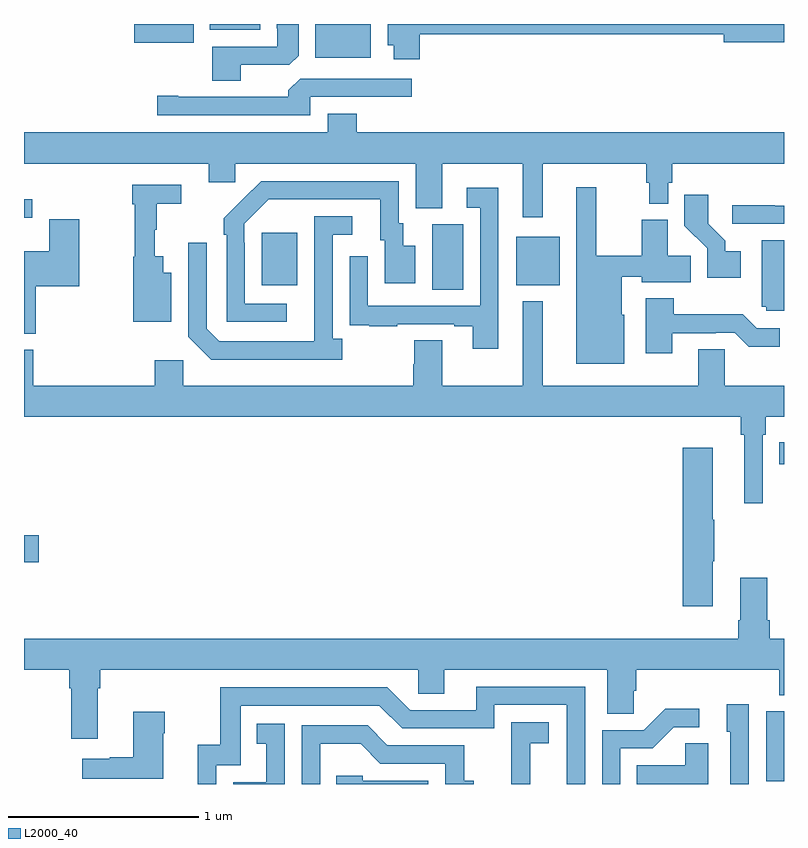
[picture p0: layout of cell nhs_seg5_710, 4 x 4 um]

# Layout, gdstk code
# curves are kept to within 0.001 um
import gdstk
lib = gdstk.Library(unit=1e-6, precision=1e-09)
def R(c, l, rs):  # rectangles x0, y0, x1, y1
    for r in rs: c.add(gdstk.rectangle(r[:2], r[2:], *l))
def P(c, l, *ps):  # polygons
    for p in ps: c.add(gdstk.Polygon(p, *l))
L2000_40 = (2000, 40)

nhs_seg5_710 = lib.new_cell('nhs_seg5_710')
R(nhs_seg5_710, L2000_40, [(158.907,882.813,159,883.182), (155,883.966,155.077,884.108), (158.974,884.482,159,884.598), (157.148,885.4,157.312,885.744), (156.251,885.425,156.439,885.7), (157.592,885.425,157.819,885.679), (155,885.78,155.044,885.876), (156.533,886.622,156.826,886.799), (155.579,886.7,155.893,886.799), (155.978,886.769,156.244,886.799)])
P(nhs_seg5_710, L2000_40, [(156.142,886.584),(156.396,886.584),(156.445,886.633),(156.445,886.799),(156.329,886.799),(156.329,886.777),(156.333,886.777),(156.333,886.68),(155.99,886.68),(155.99,886.501),(156.142,886.501)],
  [(157.082,886.744),(158.684,886.744),(158.684,886.702),(159,886.702),(159,886.799),(156.914,886.799),(156.914,886.688),(156.947,886.688),(156.947,886.614),(157.082,886.614)],
  [(156.507,886.416),(157.042,886.416),(157.042,886.512),(156.453,886.512),(156.392,886.45),(156.392,886.416),(155.812,886.416),(155.812,886.421),(155.7,886.421),(155.7,886.32),(156.507,886.32)],
  [(157.729,886.064),(158.275,886.064),(158.275,885.963),(158.29,885.963),(158.29,885.854),(158.391,885.854),(158.391,885.963),(158.411,885.963),(158.411,886.064),(159,886.064),(159,886.228),(156.752,886.228),(156.752,886.327),(156.599,886.327),(156.599,886.228),(155,886.228),(155,886.064),(155.972,886.064),(155.972,885.966),(156.111,885.966),(156.111,886.064),(157.061,886.064),(157.061,885.829),(157.201,885.829),(157.201,886.064),(157.625,886.064),(157.625,885.783),(157.729,885.783)],
  [(156.382,885.327),(156.162,885.327),(156.162,885.647),(156.159,885.647),(156.159,885.747),(156.288,885.876),(156.875,885.876),(156.875,885.66),(156.899,885.66),(156.899,885.435),(157.06,885.435),(157.06,885.631),(156.997,885.631),(156.997,885.75),(156.972,885.75),(156.972,885.972),(156.248,885.972),(156.051,885.777),(156.051,885.689),(156.066,885.689),(156.066,885.231),(156.382,885.231)],
  [(155.776,885.49),(155.734,885.49),(155.734,885.577),(155.687,885.577),(155.687,885.717),(155.698,885.717),(155.698,885.853),(155.827,885.853),(155.827,885.954),(155.569,885.954),(155.569,885.851),(155.584,885.851),(155.584,885.573),(155.576,885.573),(155.576,885.233),(155.776,885.233)],
  [(158.158,885.27),(158.146,885.27),(158.146,885.47),(158.252,885.47),(158.252,885.44),(158.51,885.44),(158.51,885.578),(158.389,885.578),(158.389,885.769),(158.252,885.769),(158.252,885.58),(158.011,885.58),(158.011,885.94),(157.907,885.94),(157.907,885.011),(158.158,885.011)],
  [(157.497,885.937),(157.329,885.937),(157.329,885.831),(157.401,885.831),(157.401,885.315),(156.81,885.315),(156.81,885.577),(156.714,885.577),(156.714,885.322),(156.715,885.322),(156.715,885.213),(156.817,885.213),(156.817,885.207),(156.965,885.207),(156.965,885.219),(157.265,885.219),(157.265,885.207),(157.361,885.207),(157.361,885.09),(157.497,885.09)],
  [(158.773,885.604),(158.692,885.604),(158.692,885.659),(158.602,885.749),(158.602,885.901),(158.476,885.901),(158.476,885.738),(158.595,885.619),(158.595,885.464),(158.773,885.464)],
  [(159,885.843),(158.951,885.843),(158.951,885.846),(158.727,885.846),(158.727,885.747),(159,885.747)],
  [(156.676,885.142),(156.624,885.142),(156.624,885.69),(156.727,885.69),(156.727,885.786),(156.528,885.786),(156.527,885.129),(156.027,885.129),(155.961,885.195),(155.961,885.649),(155.865,885.649),(155.865,885.153),(155.986,885.032),(156.676,885.032)],
  [(155.063,885.419),(155.29,885.419),(155.29,885.772),(155.132,885.772),(155.132,885.604),(155,885.604),(155,885.169),(155.063,885.169)],
  [(159,885.661),(158.882,885.661),(158.882,885.312),(158.907,885.312),(158.907,885.291),(159,885.291)],
  [(158.413,885.171),(158.642,885.171),(158.642,885.174),(158.742,885.174),(158.815,885.101),(158.977,885.101),(158.977,885.198),(158.856,885.198),(158.783,885.271),(158.421,885.271),(158.421,885.355),(158.273,885.355),(158.273,885.066),(158.413,885.066)],
  [(158.889,884.636),(158.903,884.636),(158.903,884.732),(159,884.732),(159,884.896),(158.688,884.896),(158.688,885.086),(158.549,885.086),(158.549,884.896),(157.729,884.896),(157.729,885.34),(157.625,885.34),(157.625,884.896),(157.201,884.896),(157.201,885.134),(157.054,885.134),(157.054,885.009),(157.049,885.009),(157.049,884.896),(155.838,884.896),(155.838,885.028),(155.687,885.028),(155.687,884.896),(155.048,884.896),(155.048,885.084),(155,885.084),(155,884.732),(158.773,884.732),(158.773,884.636),(158.792,884.636),(158.792,884.277),(158.889,884.277)],
  [(158.626,883.972),(158.634,883.972),(158.634,884.189),(158.626,884.189),(158.626,884.569),(158.468,884.569),(158.468,883.734),(158.626,883.734)],
  [(155.389,883.304),(155.402,883.304),(155.402,883.4),(157.074,883.4),(157.074,883.273),(157.213,883.273),(157.213,883.4),(158.069,883.4),(158.069,883.168),(158.208,883.168),(158.208,883.291),(158.222,883.291),(158.222,883.4),(158.975,883.4),(158.975,883.267),(159,883.267),(159,883.564),(158.924,883.564),(158.924,883.66),(158.911,883.66),(158.911,883.885),(158.771,883.885),(158.771,883.66),(158.759,883.66),(158.759,883.564),(155,883.564),(155,883.4),(155.237,883.4),(155.237,883.304),(155.249,883.304),(155.249,883.038),(155.389,883.038)],
  [(156.012,882.897),(156.141,882.897),(156.141,883.212),(156.87,883.212),(156.99,883.092),(157.476,883.092),(157.476,883.215),(157.857,883.215),(157.857,882.799),(157.953,882.799),(157.953,883.311),(157.379,883.311),(157.379,883.188),(157.032,883.188),(156.912,883.308),(156.033,883.308),(156.033,883.006),(155.915,883.006),(155.915,882.799),(156.012,882.799)],
  [(158.814,883.219),(158.699,883.219),(158.699,883.074),(158.718,883.074),(158.718,882.799),(158.814,882.799)],
  [(158.139,882.987),(158.308,882.987),(158.419,883.098),(158.554,883.098),(158.554,883.196),(158.375,883.196),(158.262,883.083),(158.043,883.083),(158.043,882.799),(158.139,882.799)],
  [(155.734,883.067),(155.742,883.067),(155.742,883.18),(155.576,883.18),(155.576,882.941),(155.45,882.941),(155.45,882.931),(155.307,882.931),(155.307,882.827),(155.734,882.827)],
  [(157.664,883.013),(157.762,883.013),(157.762,883.123),(157.564,883.123),(157.564,882.917),(157.565,882.917),(157.565,882.799),(157.664,882.799)],
  [(156.372,883.117),(156.226,883.117),(156.226,883.011),(156.275,883.011),(156.275,882.807),(156.102,882.807),(156.102,882.799),(156.372,882.799)],
  [(156.558,883.01),(156.772,883.01),(156.876,882.906),(157.218,882.906),(157.218,882.799),(157.366,882.799),(157.366,882.817),(157.317,882.817),(157.317,883.002),(156.913,883.002),(156.808,883.107),(156.462,883.107),(156.462,882.799),(156.558,882.799)],
  [(158.602,883.013),(158.481,883.013),(158.481,882.898),(158.224,882.898),(158.224,882.799),(158.602,882.799)],
  [(157.128,882.816),(156.783,882.816),(156.783,882.843),(156.643,882.843),(156.643,882.799),(157.128,882.799)])

lib.write_gds('nhs_seg5_710.gds')
